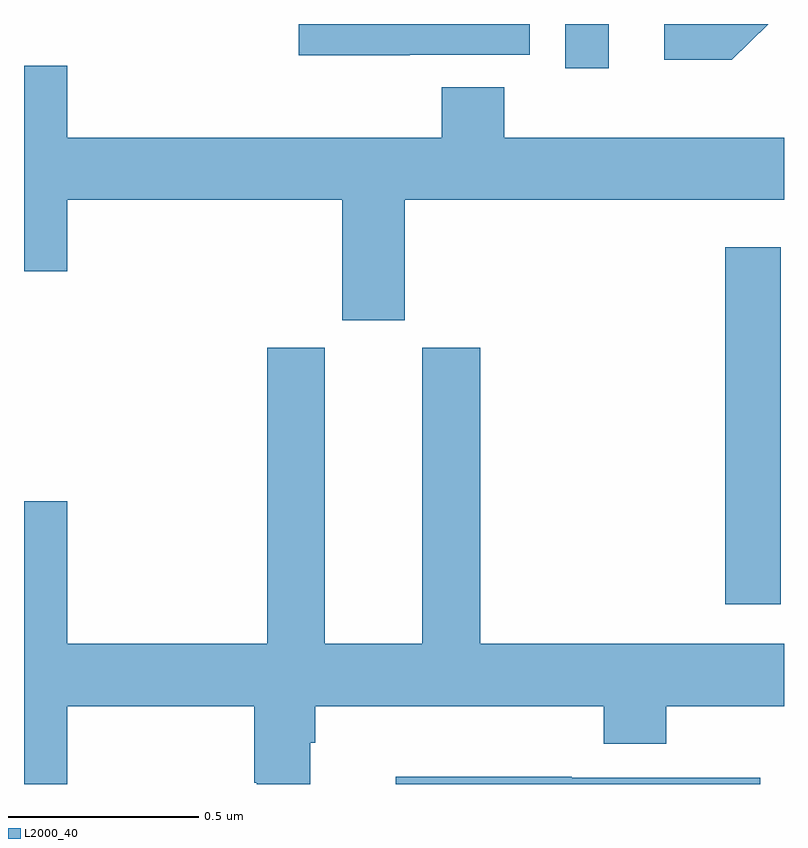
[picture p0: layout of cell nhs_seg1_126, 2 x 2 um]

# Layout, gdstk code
import gdstk
lib = gdstk.Library(unit=1e-6, precision=1e-09)
def R(c, l, rs):  # rectangles x0, y0, x1, y1
    for r in rs: c.add(gdstk.rectangle(r[:2], r[2:], *l))
def P(c, l, *ps):  # polygons
    for p in ps: c.add(gdstk.Polygon(p, *l))
L2000_40 = (2000, 40)

nhs_seg1_126 = lib.new_cell('nhs_seg1_126')
R(nhs_seg1_126, L2000_40, [(113.846,546.672,113.992,547.612), (113.424,548.082,113.539,548.199)])
P(nhs_seg1_126, L2000_40, [(113.015,548.118),(113.331,548.118),(113.331,548.199),(112.723,548.199),(112.723,548.117),(113.015,548.117)],
  [(113.958,548.199),(113.685,548.199),(113.685,548.105),(113.863,548.105)],
  [(113.002,547.736),(114,547.736),(114,547.9),(113.264,547.9),(113.264,548.033),(113.099,548.033),(113.099,547.9),(112.114,547.9),(112.114,548.089),(112,548.089),(112,547.548),(112.114,547.548),(112.114,547.736),(112.838,547.736),(112.838,547.419),(113.002,547.419)],
  [(112.114,546.404),(112.606,546.404),(112.606,546.202),(112.613,546.202),(112.613,546.199),(112.753,546.199),(112.753,546.308),(112.766,546.308),(112.766,546.404),(113.525,546.404),(113.525,546.305),(113.69,546.305),(113.69,546.404),(114,546.404),(114,546.568),(113.201,546.568),(113.201,547.347),(113.048,547.347),(113.048,546.568),(112.792,546.568),(112.792,547.347),(112.64,547.347),(112.64,546.568),(112.114,546.568),(112.114,546.943),(112,546.943),(112,546.199),(112.114,546.199)],
  [(113.937,546.216),(113.441,546.216),(113.441,546.218),(112.978,546.218),(112.978,546.199),(113.937,546.199)])

lib.write_gds('nhs_seg1_126.gds')
